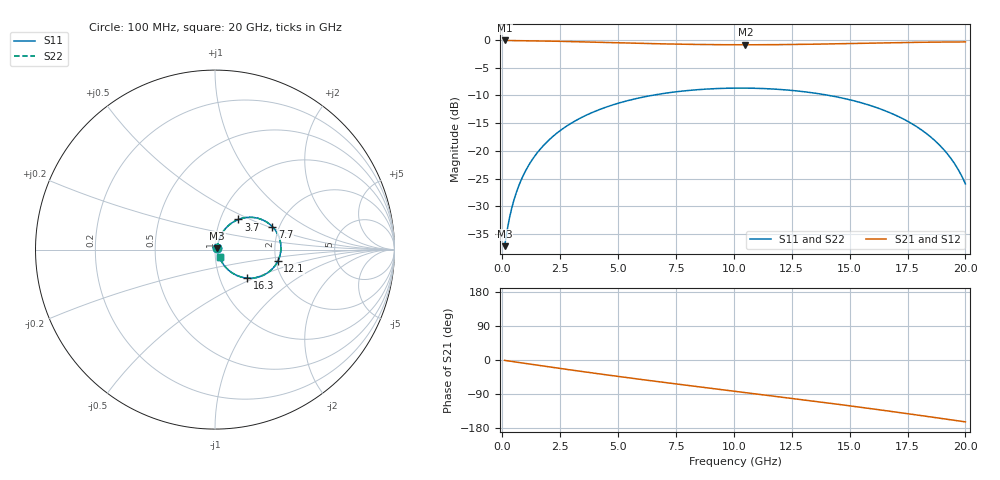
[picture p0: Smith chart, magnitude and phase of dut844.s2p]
! Touchstone file exported from HFSS 2026.1.0
!  File:  C:/ffzhzh/LocalFiles/Ansys_Project_Files/temp_train_TSV_RDL_844_1783268347_38704.aedt
!  Generated:  12:30:27 AM Jul  6, 2026
!  Design:  TSV_RDL
!  Project:  temp_train_TSV_RDL_844_1783268347_38704
! Variables:
!  h_bsmrdl = 4.47um
!  h_ox = 20um
!  h_rdl = 5um
!  h_sub = 98.31um
!  h_tmrdl = 3.52um
!  h_tsv = 98.31um
!  h_via = 3um
!  l_bsmrdl = 145.63um
!  l_sub = 2499.04um
!  l_tmrdl = 381.42um
!  m_sub = 200um
!  pitch = 37.92um
!  r_tsv = 6.13um
!  s_tmrdl = 10um
!  w_bsmrdl = 24.76um
!  w_sub = 500um
!  w_tmrdl = 20.73um
!  x_tsv_center1 = 391.785um
!  x_tsv_center2 = 562.175um
!  x_tsv_center3 = 964.325um
!  x_tsv_center4 = 1134.715um
!  x_tsv_center5 = 1536.865um
!  x_tsv_center6 = 1707.255um
# GHz S MA R 50.000000
! Terminal data exported
! Port[1] = TM_RDL1_1_T1
! Port[2] = TM_RDL5_1_T1
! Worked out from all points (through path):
!   200 points, 100 MHz to 20 GHz, reference 50 ohm
!   highest |S21| = -0.10 dB at 100 MHz (marker M1); lowest = -0.9 dB at 10.5 GHz (marker M2)
!   group delay of S21, straight-line fit = 22.1 ps
!   lowest |S11| = -37.2 dB at 100 MHz (marker M3), VSWR 1.03, Z = 51.2 + j0.717 ohm
!   |S11| at or under -10 dB: start of sweep to 6.474 GHz; 14.09 GHz to end of sweep
!   |S22| runs from -37.2 to -8.7 dB; largest |S21 - S12| = 1.7e-14
!   S11 on the Smith chart (normalised r, x): 100 MHz: 1.02, +0.01; 3.7 GHz: 1.22, +0.43; 7.7 GHz: 1.84, +0.53; 12.1 GHz: 2.05, -0.30; 16.3 GHz: 1.35, -0.45; 20 GHz: 1.05, -0.09
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0.1  0.01381 30.5  0.9882 -1.0  0.9882 -1.0  0.01381 30.5
! Gamma 0 0 0 0
! Port Impedance 50 0 50 0
0.3  0.02425 55.0  0.9869 -2.8  0.9869 -2.8  0.02425 55.0
0.5  0.03581 62.9  0.9857 -4.6  0.9857 -4.6  0.03581 62.9
0.8  0.05364 67.1  0.9842 -7.3  0.9842 -7.3  0.05364 67.1
1.2  0.07762 67.8  0.9818 -10.9  0.9818 -10.9  0.07762 67.8
1.7  0.1071 66.0  0.978 -15.3  0.978 -15.3  0.1071 66.0
2.2  0.1356 63.0  0.9735 -19.7  0.9735 -19.7  0.1356 63.0
3.5  0.2034 53.6  0.9594 -30.9  0.9594 -30.9  0.2034 53.6
3.7  0.2129 52.1  0.957 -32.6  0.957 -32.6  0.2129 52.1
5.1  0.2719 41.4  0.9402 -44.1  0.9402 -44.1  0.2719 41.4
6.8  0.3247 28.5  0.9218 -57.7  0.9218 -57.7  0.3247 28.5
7.7  0.3442 21.8  0.9142 -64.7  0.9142 -64.7  0.3442 21.8
10.1  0.3676 4.3  0.9038 -82.9  0.9038 -82.9  0.3676 4.3
10.5  0.3675 1.4  0.9036 -86.0  0.9036 -86.0  0.3675 1.4
12.1  0.356 -10.3  0.9069 -98.1  0.9069 -98.1  0.356 -10.3
13.4  0.3332 -19.8  0.914 -108.2  0.914 -108.2  0.3332 -19.8
16.3  0.2396 -41.5  0.9379 -131.5  0.9379 -131.5  0.2396 -41.5
16.7  0.2223 -44.5  0.9413 -134.9  0.9413 -134.9  0.2223 -44.5
17.8  0.1699 -52.5  0.9497 -144.2  0.9497 -144.2  0.1699 -52.5
18.7  0.1226 -58.2  0.9549 -151.9  0.9549 -151.9  0.1226 -58.2
19.4  0.08397 -61.0  0.9575 -158.0  0.9575 -158.0  0.08396 -61.0
20  0.05032 -59.5  0.9586 -163.3  0.9586 -163.3  0.0503 -59.5
